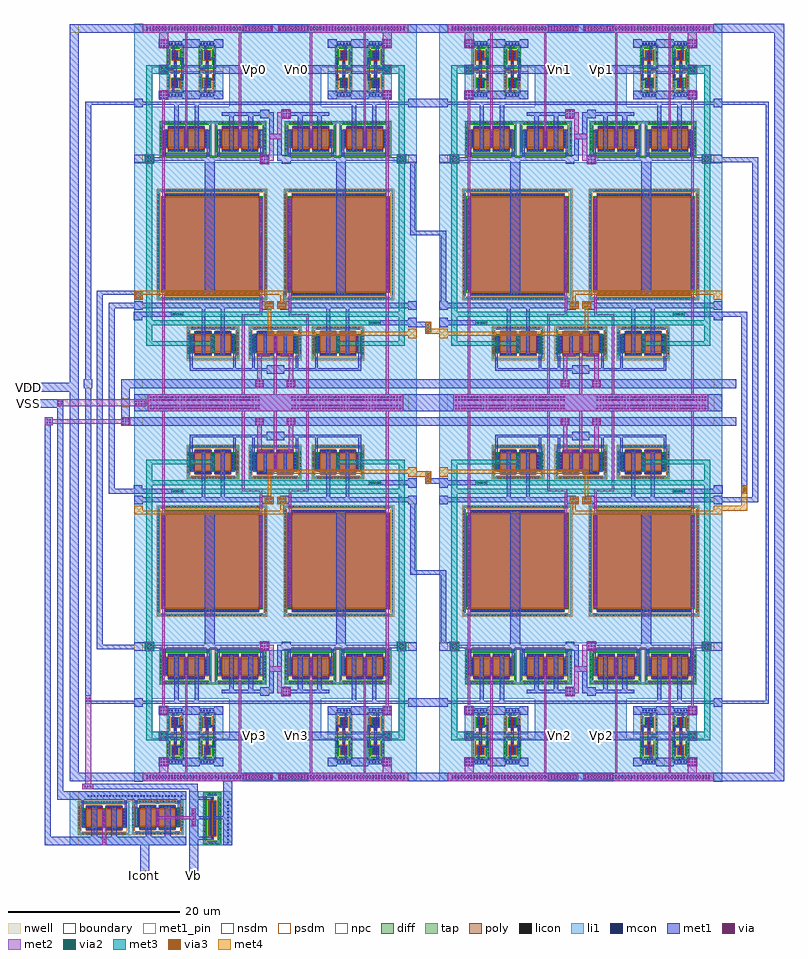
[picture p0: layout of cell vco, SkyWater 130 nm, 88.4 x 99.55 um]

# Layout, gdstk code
from math import pi, radians
import gdstk
lib = gdstk.Library(unit=1e-6, precision=1e-09)
def R(c, l, rs):  # rectangles x0, y0, x1, y1
    for r in rs: c.add(gdstk.rectangle(r[:2], r[2:], *l))
def A(c, l, x, y, w, h, nx, ny, dx, dy):  # array of equal rectangles
    R(c, l, [(x+i*dx, y+j*dy, x+i*dx+w, y+j*dy+h) for i in range(nx) for j in range(ny)])
nwell = (64, 20)
diff = (65, 20)
tap = (65, 44)
poly = (66, 20)
licon = (66, 44)
li1 = (67, 20)
mcon = (67, 44)
met1_pin = (68, 16)
met1 = (68, 20)
via = (68, 44)
met2 = (69, 20)
via2 = (69, 44)
met3 = (70, 20)
via3 = (70, 44)
met4 = (71, 20)
nsdm = (93, 44)
psdm = (94, 20)
npc = (95, 20)
boundary = (235, 4)

sky130_fd_pr__nfet_01v8_ = lib.new_cell('sky130_fd_pr__nfet_01v8_APRB2X')
R(sky130_fd_pr__nfet_01v8_, diff, [(-5.79,-5.5,5.79,5.5)])
R(sky130_fd_pr__nfet_01v8_, tap, [(-6.3,-6.37,6.3,-6.2), (-6.3,-6.2,-6.13,6.2), (6.13,-6.2,6.3,6.2), (-6.3,6.2,6.3,6.37)])
R(sky130_fd_pr__nfet_01v8_, poly, [(-5.5,-5.94,5.5,5.94)])
A(sky130_fd_pr__nfet_01v8_, licon, -5.695, -6.37, 0.17, 0.17, 34, 2, 0.34, 12.57)
A(sky130_fd_pr__nfet_01v8_, licon, -6.3, -5.865, 0.17, 0.17, 1, 35, 0, 0.34)
A(sky130_fd_pr__nfet_01v8_, licon, 6.13, -5.865, 0.17, 0.17, 1, 35, 0, 0.34)
A(sky130_fd_pr__nfet_01v8_, licon, -5.355, -5.86, 0.17, 0.17, 32, 2, 0.34, 11.55)
A(sky130_fd_pr__nfet_01v8_, licon, -5.73, -5.355, 0.17, 0.17, 1, 32, 0, 0.34)
A(sky130_fd_pr__nfet_01v8_, licon, 5.56, -5.355, 0.17, 0.17, 1, 32, 0, 0.34)
R(sky130_fd_pr__nfet_01v8_, li1, [(-6.3,-6.37,6.3,-6.2), (-6.3,-6.2,-6.13,6.2), (6.13,-6.2,6.3,6.2), (-5.5,-5.86,5.5,-5.69), (-5.73,-5.52,-5.56,5.52), (5.56,-5.52,5.73,5.52), (-5.5,5.69,5.5,5.86), (-6.3,6.2,6.3,6.37)])
A(sky130_fd_pr__nfet_01v8_, mcon, -5.305, -5.86, 0.17, 0.17, 30, 2, 0.36, 11.55)
A(sky130_fd_pr__nfet_01v8_, mcon, -5.73, -5.305, 0.17, 0.17, 1, 30, 0, 0.36)
A(sky130_fd_pr__nfet_01v8_, mcon, 5.56, -5.305, 0.17, 0.17, 1, 30, 0, 0.36)
R(sky130_fd_pr__nfet_01v8_, met1, [(-5.48,-5.89,5.48,-5.66), (-5.76,-5.5,-5.53,5.5), (5.53,-5.5,5.76,5.5), (-5.48,5.66,5.48,5.89)])
R(sky130_fd_pr__nfet_01v8_, nsdm, [(-5.915,-5.625,5.915,5.625)])
R(sky130_fd_pr__nfet_01v8_, psdm, [(-6.425,-6.495,6.425,-6.075), (-6.425,-6.075,-6.005,6.075), (6.005,-6.075,6.425,6.075), (-6.425,6.075,6.425,6.495)])
R(sky130_fd_pr__nfet_01v8_, npc, [(-5.455,-5.96,5.455,-5.59), (-5.455,5.59,5.455,5.96)])
R(sky130_fd_pr__nfet_01v8_, boundary, [(-6.21,-6.28,6.21,6.28)])

sky130_fd_pr__pfet_01v8_ = lib.new_cell('sky130_fd_pr__pfet_01v8_GJP7VV')
R(sky130_fd_pr__pfet_01v8_, nwell, [(-3.125,-2.095,3.125,2.095)])
R(sky130_fd_pr__pfet_01v8_, diff, [(-2.435,-1,2.435,1)])
R(sky130_fd_pr__pfet_01v8_, tap, [(-2.945,-1.915,2.945,-1.745), (-2.945,-1.745,-2.775,1.745), (2.775,-1.745,2.945,1.745), (-2.945,1.745,2.945,1.915)])
R(sky130_fd_pr__pfet_01v8_, poly, [(-2.145,-1.485,-0.145,1.485), (0.145,-1.485,2.145,1.485)])
A(sky130_fd_pr__pfet_01v8_, licon, -2.465, -1.915, 0.17, 0.17, 15, 2, 0.34, 3.66)
A(sky130_fd_pr__pfet_01v8_, licon, -1.91, -1.405, 0.17, 0.17, 5, 2, 0.34, 2.64)
A(sky130_fd_pr__pfet_01v8_, licon, 0.38, -1.405, 0.17, 0.17, 5, 2, 0.34, 2.64)
A(sky130_fd_pr__pfet_01v8_, licon, -2.945, -1.275, 0.17, 0.17, 1, 8, 0, 0.34)
A(sky130_fd_pr__pfet_01v8_, licon, 2.775, -1.275, 0.17, 0.17, 1, 8, 0, 0.34)
A(sky130_fd_pr__pfet_01v8_, licon, -2.375, -0.935, 0.17, 0.17, 3, 6, 2.29, 0.34)
A(sky130_fd_pr__pfet_01v8_, li1, -2.375, -1.02, 0.17, 2.04, 3, 1, 2.29, 0)
R(sky130_fd_pr__pfet_01v8_, li1, [(-2.945,-1.915,2.945,-1.745), (-2.945,-1.745,-2.775,1.745), (2.775,-1.745,2.945,1.745), (-2.145,-1.405,-0.145,-1.235), (0.145,-1.405,2.145,-1.235), (-2.145,1.235,-0.145,1.405), (0.145,1.235,2.145,1.405), (-2.945,1.745,2.945,1.915)])
A(sky130_fd_pr__pfet_01v8_, mcon, -1.95, -1.405, 0.17, 0.17, 5, 2, 0.36, 2.64)
A(sky130_fd_pr__pfet_01v8_, mcon, 0.34, -1.405, 0.17, 0.17, 5, 2, 0.36, 2.64)
A(sky130_fd_pr__pfet_01v8_, mcon, -2.375, -0.805, 0.17, 0.17, 3, 5, 2.29, 0.36)
A(sky130_fd_pr__pfet_01v8_, met1, -2.405, -1, 0.23, 2, 3, 1, 2.29, 0)
R(sky130_fd_pr__pfet_01v8_, met1, [(-2.125,-1.435,-0.165,-1.205), (0.165,-1.435,2.125,-1.205), (-2.125,1.205,-0.165,1.435), (0.165,1.205,2.125,1.435)])
R(sky130_fd_pr__pfet_01v8_, nsdm, [(-3.07,-2.04,3.07,-1.62), (-3.07,-1.62,-2.65,1.62), (2.65,-1.62,3.07,1.62), (-3.07,1.62,3.07,2.04)])
R(sky130_fd_pr__pfet_01v8_, psdm, [(-2.56,-1.125,2.56,1.125)])
R(sky130_fd_pr__pfet_01v8_, npc, [(-2.01,-1.505,-0.28,-1.135), (0.28,-1.505,2.01,-1.135), (-2.01,1.135,-0.28,1.505), (0.28,1.135,2.01,1.505)])
R(sky130_fd_pr__pfet_01v8_, boundary, [(-2.86,-1.83,2.86,1.83)])

c_sky130_fd_pr__nfet_01v8_ = lib.new_cell('sky130_fd_pr__nfet_01v8_XVWV9B')
R(c_sky130_fd_pr__nfet_01v8_, diff, [(-2.435,-1,2.435,1)])
R(c_sky130_fd_pr__nfet_01v8_, tap, [(-2.945,-1.87,2.945,-1.7), (-2.945,-1.7,-2.775,1.7), (2.775,-1.7,2.945,1.7), (-2.945,1.7,2.945,1.87)])
R(c_sky130_fd_pr__nfet_01v8_, poly, [(-2.145,-1.44,-0.145,1.44), (0.145,-1.44,2.145,1.44)])
A(c_sky130_fd_pr__nfet_01v8_, licon, -2.465, -1.87, 0.17, 0.17, 15, 2, 0.34, 3.57)
A(c_sky130_fd_pr__nfet_01v8_, licon, -1.91, -1.36, 0.17, 0.17, 5, 2, 0.34, 2.55)
A(c_sky130_fd_pr__nfet_01v8_, licon, 0.38, -1.36, 0.17, 0.17, 5, 2, 0.34, 2.55)
A(c_sky130_fd_pr__nfet_01v8_, licon, -2.945, -1.275, 0.17, 0.17, 1, 8, 0, 0.34)
A(c_sky130_fd_pr__nfet_01v8_, licon, 2.775, -1.275, 0.17, 0.17, 1, 8, 0, 0.34)
A(c_sky130_fd_pr__nfet_01v8_, licon, -2.375, -0.935, 0.17, 0.17, 3, 6, 2.29, 0.34)
A(c_sky130_fd_pr__nfet_01v8_, li1, -2.375, -1.02, 0.17, 2.04, 3, 1, 2.29, 0)
R(c_sky130_fd_pr__nfet_01v8_, li1, [(-2.945,-1.87,2.945,-1.7), (-2.945,-1.7,-2.775,1.7), (2.775,-1.7,2.945,1.7), (-2.145,-1.36,-0.145,-1.19), (0.145,-1.36,2.145,-1.19), (-2.145,1.19,-0.145,1.36), (0.145,1.19,2.145,1.36), (-2.945,1.7,2.945,1.87)])
A(c_sky130_fd_pr__nfet_01v8_, mcon, -1.95, -1.36, 0.17, 0.17, 5, 2, 0.36, 2.55)
A(c_sky130_fd_pr__nfet_01v8_, mcon, 0.34, -1.36, 0.17, 0.17, 5, 2, 0.36, 2.55)
A(c_sky130_fd_pr__nfet_01v8_, mcon, -2.375, -0.805, 0.17, 0.17, 3, 5, 2.29, 0.36)
A(c_sky130_fd_pr__nfet_01v8_, met1, -2.405, -1, 0.23, 2, 3, 1, 2.29, 0)
R(c_sky130_fd_pr__nfet_01v8_, met1, [(-2.125,-1.39,-0.165,-1.16), (0.165,-1.39,2.125,-1.16), (-2.125,1.16,-0.165,1.39), (0.165,1.16,2.125,1.39)])
R(c_sky130_fd_pr__nfet_01v8_, nsdm, [(-2.56,-1.125,2.56,1.125)])
R(c_sky130_fd_pr__nfet_01v8_, psdm, [(-3.07,-1.995,3.07,-1.575), (-3.07,-1.575,-2.65,1.575), (2.65,-1.575,3.07,1.575), (-3.07,1.575,3.07,1.995)])
R(c_sky130_fd_pr__nfet_01v8_, npc, [(-2.01,-1.46,-0.28,-1.09), (0.28,-1.46,2.01,-1.09), (-2.01,1.09,-0.28,1.46), (0.28,1.09,2.01,1.46)])
R(c_sky130_fd_pr__nfet_01v8_, boundary, [(-2.86,-1.785,2.86,1.785)])

c_sky130_fd_pr__pfet_01v8_ = lib.new_cell('sky130_fd_pr__pfet_01v8_LGS3BL')
R(c_sky130_fd_pr__pfet_01v8_, nwell, [(-1.055,-1.42,1.055,1.42)])
R(c_sky130_fd_pr__pfet_01v8_, diff, [(-0.365,-0.32,0.365,0.68)])
R(c_sky130_fd_pr__pfet_01v8_, tap, [(-0.875,-1.24,0.875,-1.07), (-0.875,-1.07,-0.705,1.07), (0.705,-1.07,0.875,1.07), (-0.875,1.07,0.875,1.24)])
R(c_sky130_fd_pr__pfet_01v8_, poly, [(-0.165,-0.805,0.165,-0.475), (-0.075,-0.475,0.075,0.81)])
A(c_sky130_fd_pr__pfet_01v8_, licon, -0.875, -0.595, 0.17, 0.17, 1, 4, 0, 0.34)
A(c_sky130_fd_pr__pfet_01v8_, licon, 0.705, -0.595, 0.17, 0.17, 1, 4, 0, 0.34)
A(c_sky130_fd_pr__pfet_01v8_, licon, -0.305, -0.245, 0.17, 0.17, 1, 3, 0, 0.34)
A(c_sky130_fd_pr__pfet_01v8_, licon, 0.135, -0.245, 0.17, 0.17, 1, 3, 0, 0.34)
R(c_sky130_fd_pr__pfet_01v8_, licon, [(-0.255,-1.24,-0.085,-1.07), (0.085,-1.24,0.255,-1.07), (-0.085,-0.725,0.085,-0.555), (-0.255,1.07,-0.085,1.24), (0.085,1.07,0.255,1.24)])
R(c_sky130_fd_pr__pfet_01v8_, li1, [(-0.875,-1.24,0.875,-1.07), (-0.875,-1.07,-0.705,1.07), (0.705,-1.07,0.875,1.07), (-0.165,-0.725,0.165,-0.555), (-0.305,-0.34,-0.135,0.7), (0.135,-0.34,0.305,0.7), (-0.875,1.07,0.875,1.24)])
R(c_sky130_fd_pr__pfet_01v8_, mcon, [(-0.085,-0.725,0.085,-0.555), (-0.305,-0.085,-0.135,0.085), (0.135,-0.085,0.305,0.085), (-0.305,0.275,-0.135,0.445), (0.135,0.275,0.305,0.445)])
R(c_sky130_fd_pr__pfet_01v8_, met1, [(-0.145,-0.755,0.145,-0.525), (-0.335,-0.32,-0.105,0.68), (0.105,-0.32,0.335,0.68)])
R(c_sky130_fd_pr__pfet_01v8_, nsdm, [(-1,-1.365,1,-0.945), (-1,-0.945,-0.58,0.945), (0.58,-0.945,1,0.945), (-1,0.945,1,1.365)])
R(c_sky130_fd_pr__pfet_01v8_, psdm, [(-0.49,-0.445,0.49,0.805)])
R(c_sky130_fd_pr__pfet_01v8_, npc, [(-0.185,-0.825,0.185,-0.455)])
R(c_sky130_fd_pr__pfet_01v8_, boundary, [(-0.79,-1.155,0.79,1.155)])

c_sky130_fd_pr__nfet_01v8__ = lib.new_cell('sky130_fd_pr__nfet_01v8_64Z3AY')
R(c_sky130_fd_pr__nfet_01v8__, diff, [(-0.365,-0.655,0.365,0.345)])
R(c_sky130_fd_pr__nfet_01v8__, tap, [(-0.875,-1.215,0.875,-1.045), (-0.875,-1.045,-0.705,1.045), (0.705,-1.045,0.875,1.045), (-0.875,1.045,0.875,1.215)])
R(c_sky130_fd_pr__nfet_01v8__, poly, [(-0.075,-0.785,0.075,0.455), (-0.165,0.455,0.165,0.785)])
A(c_sky130_fd_pr__nfet_01v8__, licon, -0.875, -0.595, 0.17, 0.17, 1, 4, 0, 0.34)
A(c_sky130_fd_pr__nfet_01v8__, licon, 0.705, -0.595, 0.17, 0.17, 1, 4, 0, 0.34)
A(c_sky130_fd_pr__nfet_01v8__, licon, -0.305, -0.58, 0.17, 0.17, 1, 3, 0, 0.34)
A(c_sky130_fd_pr__nfet_01v8__, licon, 0.135, -0.58, 0.17, 0.17, 1, 3, 0, 0.34)
R(c_sky130_fd_pr__nfet_01v8__, licon, [(-0.255,-1.215,-0.085,-1.045), (0.085,-1.215,0.255,-1.045), (-0.085,0.535,0.085,0.705), (-0.255,1.045,-0.085,1.215), (0.085,1.045,0.255,1.215)])
R(c_sky130_fd_pr__nfet_01v8__, li1, [(-0.875,-1.215,0.875,-1.045), (-0.875,-1.045,-0.705,1.045), (0.705,-1.045,0.875,1.045), (-0.305,-0.675,-0.135,0.365), (0.135,-0.675,0.305,0.365), (-0.165,0.535,0.165,0.705), (-0.875,1.045,0.875,1.215)])
R(c_sky130_fd_pr__nfet_01v8__, mcon, [(-0.305,-0.42,-0.135,-0.25), (0.135,-0.42,0.305,-0.25), (-0.305,-0.06,-0.135,0.11), (0.135,-0.06,0.305,0.11), (-0.085,0.535,0.085,0.705)])
R(c_sky130_fd_pr__nfet_01v8__, met1, [(-0.335,-0.655,-0.105,0.345), (0.105,-0.655,0.335,0.345), (-0.145,0.505,0.145,0.735)])
R(c_sky130_fd_pr__nfet_01v8__, nsdm, [(-0.49,-0.78,0.49,0.47)])
R(c_sky130_fd_pr__nfet_01v8__, psdm, [(-1,-1.34,1,-0.92), (-1,-0.92,-0.58,0.92), (0.58,-0.92,1,0.92), (-1,0.92,1,1.34)])
R(c_sky130_fd_pr__nfet_01v8__, npc, [(-0.185,0.435,0.185,0.805)])
R(c_sky130_fd_pr__nfet_01v8__, boundary, [(-0.79,-1.13,0.79,1.13)])

vco_inverter = lib.new_cell('vco_inverter')
R(vco_inverter, li1, [(3.15,-4.75,6.85,-3.9), (3.15,-3.9,4.2,-1.5), (5.8,-3.9,6.85,-1.5), (3.15,-1.05,4.15,1.4), (5.85,-1.05,6.85,1.4), (3.15,1.4,6.85,2.25)])
A(vco_inverter, mcon, 4.195, -4.335, 0.17, 0.17, 5, 2, 0.36, 6)
R(vco_inverter, met1_pin, [(3.15,-4.75,4.15,-3.75), (3.15,-1.8,4.15,-0.8), (5.85,-1.8,6.85,-0.8), (3.15,1.25,4.15,2.25)])
R(vco_inverter, met1, [(3.15,-4.75,4.15,-4.5), (5.85,-4.75,6.85,-4.5), (3.15,-4.5,6.85,-4), (3.15,-4,4.15,-3.75), (4.65,-4,4.9,-2.35), (5.85,-4,6.85,-3.75), (5.1,-3.35,5.35,-2.55), (5.1,-2.55,5.9,-2.35), (5.7,-2.35,5.9,-1.8), (4.85,-2.2,5.15,-1.4), (3.15,-1.8,4.15,-1.4), (5.7,-1.8,6.85,-0.8), (3.15,-1.4,5.15,-1.15), (3.15,-1.15,4.15,-0.8), (4.85,-1.15,5.15,-0.35), (5.7,-0.8,5.9,-0.15), (4.65,-0.15,4.9,1.5), (5.15,-0.15,5.9,0.05), (5.15,0.05,5.35,0.85), (3.15,1.25,4.15,1.5), (5.85,1.25,6.85,1.5), (3.15,1.5,6.85,2), (3.15,2,4.15,2.25), (5.85,2,6.85,2.25)])
vco_inverter.add(gdstk.Reference(c_sky130_fd_pr__pfet_01v8_, (5.005,0.17)))
vco_inverter.add(gdstk.Reference(c_sky130_fd_pr__nfet_01v8__, (5.005,-2.705)))
vco_inverter.add(gdstk.Label('VDD', (3.65,1.75), layer=68, texttype=5))
vco_inverter.add(gdstk.Label('Vin', (3.65,-1.3), layer=68, texttype=5))
vco_inverter.add(gdstk.Label('Vout', (6.35,-1.3), layer=68, texttype=5))
vco_inverter.add(gdstk.Label('VSS', (3.65,-4.25), layer=68, texttype=5))

vco_buffer = lib.new_cell('vco_buffer')
R(vco_buffer, met1, [(0,-0.05,1,0.95), (0,2.9,1,3.9), (6.4,2.9,7.4,3.9), (0,5.95,1,6.95)])
vco_buffer.add(gdstk.Reference(vco_inverter, (0.55,4.7)))
vco_buffer.add(gdstk.Reference(vco_inverter, (-3.15,4.7)))
vco_buffer.add(gdstk.Label('VDD', (0,6.45), layer=68, texttype=5))
vco_buffer.add(gdstk.Label('VSS', (0,0.45), layer=68, texttype=5))
vco_buffer.add(gdstk.Label('Vin', (0,3.4), layer=68, texttype=5))
vco_buffer.add(gdstk.Label('Vout', (7.4,3.4), layer=68, texttype=5))

vco_stage_half = lib.new_cell('vco_stage_half')
R(vco_stage_half, li1, [(7.15,-26.8,23.6,-22.45), (7.15,-22.45,20.1,-21.75), (7.15,-21.75,13.4,-18.4), (19.25,-21.75,20.1,-18.4), (7.15,-18.4,13.55,-18.2), (19.1,-18.4,20.1,-18.2), (7.15,-18.2,20.1,-16.9), (7.15,-16.9,23.6,-14.75), (7.15,-14.75,9.95,-2.1), (22.5,-14.75,23.6,-2.1), (7.15,-2.1,23.6,1.15), (7.15,1.15,9.95,1.2), (7.15,2,10.4,5.7), (22.4,2,23.6,5.65), (18.25,5.65,23.6,5.7), (7.15,5.7,23.6,7.65), (7.15,7.65,9.25,12.2), (18.25,7.65,23.6,12.2), (7.15,12.2,10.3,15.3), (17.4,12.2,23.6,15.3), (7.15,15.3,23.6,17.25)])
A(vco_stage_half, mcon, 8.99, -26.59, 0.17, 0.17, 36, 2, 0.36, 0.36)
A(vco_stage_half, mcon, 8.59, 16.46, 0.17, 0.17, 41, 2, 0.36, 0.36)
R(vco_stage_half, met1_pin, [(7.15,-26.8,8.15,-25.8), (22.6,-23.45,23.6,-22.45), (7.15,-16,8.15,-15), (7.15,1.05,8.15,2.05), (21.85,6.3,22.85,7.3), (7.15,7.55,8.15,8.55), (20.65,11.45,21.65,12.45), (7.15,16.25,8.15,17.25)])
R(vco_stage_half, met1, [(7.15,-26.8,23.6,-25.8), (22.6,-23.45,23.6,-23.1), (13.65,-23.1,23.6,-22.8), (13.65,-22.8,13.95,-18.9), (18.7,-22.8,19,-18.9), (22.6,-22.8,23.6,-22.45), (17.25,-21.3,17.7,-15.8), (15,-21.25,15.45,-15.8), (16.1,-20.9,16.55,-18.9), (7.15,-16,8.15,-15.8), (22.05,-16,23.05,-15.8), (7.15,-15.8,23.05,-15.2), (7.15,-15.2,8.15,-15), (22.05,-15.2,23.05,-15), (15.4,-14.3,16.55,1.35), (21.7,-13.65,22.1,-3.1), (10.35,-13.6,10.8,-3.1), (21.85,1,22.85,1.35), (7.15,1.05,9.5,1.35), (7.15,1.35,22.85,1.75), (7.15,1.75,9.5,2.05), (10.55,1.75,10.85,4.9), (15.6,1.75,15.9,4.9), (16.8,1.75,17.1,4.9), (21.85,1.75,22.85,2), (21.85,2,22.15,4.9), (11.85,2.45,12.35,7.85), (14.2,2.5,14.7,7.85), (18.2,2.5,18.75,6.6), (20.45,2.5,21,6.6), (13,2.9,13.45,4.9), (19.25,2.9,19.7,4.9), (21.85,6.3,22.85,6.6), (17.35,6.6,22.85,7), (21.85,7,22.85,7.3), (7.15,7.55,8.15,7.85), (7.15,7.85,23.6,8.2), (7.15,8.2,8.15,8.55), (10.05,8.5,11.15,9.5), (10.05,11.45,11.15,12.45), (16.5,11.45,21.65,12.45), (10.05,14.5,11.2,15.5), (7.15,16.25,23.6,17.25)])
A(vco_stage_half, via, 9.06, -26.56, 0.15, 0.15, 40, 2, 0.32, 0.32)
A(vco_stage_half, via, 16.25, -20.775, 0.15, 0.15, 1, 6, 0, 0.32)
A(vco_stage_half, via, 21.825, -13.57, 0.15, 0.15, 1, 33, 0, 0.32)
A(vco_stage_half, via, 10.5, -13.545, 0.15, 0.15, 1, 33, 0, 0.32)
A(vco_stage_half, via, 8.555, 1.155, 0.15, 0.15, 3, 3, 0.32, 0.32)
A(vco_stage_half, via, 13.15, 3.025, 0.15, 0.15, 1, 6, 0, 0.32)
A(vco_stage_half, via, 19.4, 3.025, 0.15, 0.15, 1, 6, 0, 0.32)
A(vco_stage_half, via, 10.205, 8.605, 0.15, 0.15, 3, 3, 0.32, 0.32)
A(vco_stage_half, via, 10.205, 11.555, 0.15, 0.15, 3, 3, 0.32, 0.32)
A(vco_stage_half, via, 10.23, 14.605, 0.15, 0.15, 3, 3, 0.32, 0.32)
A(vco_stage_half, via, 8.6, 16.65, 0.15, 0.15, 46, 1, 0.32, 0)
R(vco_stage_half, met2, [(8.75,-26.8,22.15,-25.8), (10.45,-25.8,10.75,-13.65), (19.7,-25.8,20,-16.8), (16.15,-20.95,16.5,-18.85), (19.7,-16.8,22.05,-16.5), (21.75,-16.5,22.05,-2.9), (10.4,-13.65,10.75,-3.05), (10.45,-3.05,10.75,8.45), (8.45,1,9.45,2.1), (13.05,2.85,13.4,4.95), (19.3,2.85,19.65,4.95), (13.1,4.95,13.35,16.25), (19.35,4.95,19.6,16.25), (10.1,8.45,11.1,9.55), (10.1,11.4,11.1,12.5), (10.1,14.45,11.15,16.25), (8.15,16.25,19.75,16.4), (8.15,16.4,23.3,17.05), (8.15,17.05,19.75,17.25)])
A(vco_stage_half, via2, 16.225, -20.8, 0.2, 0.2, 1, 5, 0, 0.4)
R(vco_stage_half, via2, [(8.65,1.25,8.85,1.45), (9.05,1.25,9.25,1.45), (8.65,1.65,8.85,1.85), (9.05,1.65,9.25,1.85), (10.3,11.65,10.5,11.85), (10.7,11.65,10.9,11.85), (10.3,12.05,10.5,12.25), (10.7,12.05,10.9,12.25)])
R(vco_stage_half, met3, [(16.1,-20.925,16.55,-20.15), (8.55,-20.15,16.55,-19.65), (8.55,-19.65,9.25,1.025), (16.1,-19.65,16.55,-18.875), (8.4,1.025,9.5,2.075), (8.55,2.075,9.25,11.45), (10.05,11.425,11.15,11.45), (8.55,11.45,11.15,12.45), (10.05,12.45,11.15,12.475)])
R(vco_stage_half, nsdm, [(16.295,1.855,16.405,5.935)])
vco_stage_half.add(gdstk.Reference(sky130_fd_pr__nfet_01v8_, (16.23,-8.4)))
vco_stage_half.add(gdstk.Reference(sky130_fd_pr__pfet_01v8_, (19.475,3.895)))
vco_stage_half.add(gdstk.Reference(sky130_fd_pr__pfet_01v8_, (13.225,3.895)))
vco_stage_half.add(gdstk.Reference(c_sky130_fd_pr__nfet_01v8_, (16.325,-19.9)))
vco_stage_half.add(gdstk.Reference(vco_buffer, (10.1,8.55)))
vco_stage_half.add(gdstk.Label('VDD', (7.65,16.75), layer=68, texttype=5))
vco_stage_half.add(gdstk.Label('VSS', (7.65,-26.3), layer=68, texttype=5))
vco_stage_half.add(gdstk.Label('Vin', (7.65,-15.5), layer=68, texttype=5))
vco_stage_half.add(gdstk.Label('Vb', (7.65,8.05), layer=68, texttype=5))
vco_stage_half.add(gdstk.Label('Vd', (22.35,6.8), layer=68, texttype=5))
vco_stage_half.add(gdstk.Label('Vout', (7.65,1.55), layer=68, texttype=5))
vco_stage_half.add(gdstk.Label('Vs', (23.1,-22.95), layer=68, texttype=5))
vco_stage_half.add(gdstk.Label('Vbuf', (21.15,11.95), layer=68, texttype=5))

vco_stage = lib.new_cell('vco_stage')
R(vco_stage, li1, [(21.4,-12.15,28.4,-11.45), (21.4,-11.45,22,-7.75), (27.8,-11.45,28.4,-7.75), (21.4,-7.75,28.4,-6.6)])
R(vco_stage, met1_pin, [(8.45,-16.5,9.45,-15.5), (8.45,-14.8,9.45,-13.8), (8.45,-5.7,9.45,-4.7), (40.35,-5.7,41.35,-4.7), (8.45,11.35,9.45,12.35), (40.35,11.35,41.35,12.35), (8.45,17.85,9.45,18.85), (21.95,21.75,22.95,22.75), (26.85,21.75,27.85,22.75), (8.45,26.6,9.45,27.6)])
R(vco_stage, met1, [(8.45,-16.5,9.45,-15.5), (8.45,-14.8,41.35,-13.8), (22.2,-12.8,22.5,-8.6), (27.25,-12.8,27.55,-8.6), (22.8,-11.1,24.25,-10.75), (25.5,-11.1,26.95,-10.75), (23.55,-10.75,23.9,-8.25), (25.85,-10.75,26.2,-8.25), (24.7,-10.6,25.05,-8.6), (40.35,-7.7,41.35,-7.5), (35.75,-7.5,41.35,-6.9), (8.4,-6.9,9.4,-6.5), (40.35,-6.9,41.35,-6.6), (8.4,-6.5,14.2,-5.9), (8.45,-5.7,9.45,-4.7), (25.45,-5.7,26.45,-5.55), (40.35,-5.7,41.35,-4.7), (23.65,-5.55,24.7,-4.7), (25.1,-5.55,26.45,-4.7), (23.1,11.3,24.2,12.3), (8.45,11.35,9.45,12.35), (40.35,11.35,41.35,12.35), (25.1,11.65,25.65,14.15), (24.15,14.15,25.65,14.8), (24.15,14.8,24.7,17.3), (25.6,16.6,26.7,17.6), (8.45,17.85,9.45,18.85), (21.95,21.75,22.95,22.75), (26.85,21.75,27.85,22.75), (8.45,26.6,9.45,27.6)])
A(vco_stage, via, 22.655, -14.695, 0.15, 0.15, 3, 3, 0.32, 0.32)
A(vco_stage, via, 26.305, -14.695, 0.15, 0.15, 3, 3, 0.32, 0.32)
A(vco_stage, via, 22.97, -11, 0.15, 0.15, 4, 1, 0.32, 0)
A(vco_stage, via, 25.67, -11, 0.15, 0.15, 4, 1, 0.32, 0)
A(vco_stage, via, 24.8, -10.475, 0.15, 0.15, 1, 6, 0, 0.32)
A(vco_stage, via, 35.895, -7.275, 0.15, 0.15, 4, 1, 0.32, 0)
A(vco_stage, via, 12.945, -6.275, 0.15, 0.15, 4, 1, 0.32, 0)
A(vco_stage, via, 23.78, -5.36, 0.15, 0.15, 3, 2, 0.32, 0.32)
A(vco_stage, via, 25.23, -5.36, 0.15, 0.15, 3, 2, 0.32, 0.32)
A(vco_stage, via, 23.255, 11.405, 0.15, 0.15, 3, 3, 0.32, 0.32)
A(vco_stage, via, 25.755, 16.705, 0.15, 0.15, 3, 3, 0.32, 0.32)
R(vco_stage, met2, [(23.45,-16.5,26.35,-15.5), (24.7,-15.5,25.05,-8.6), (22.55,-14.8,23.55,-13.8), (26.2,-14.8,27.2,-13.8), (22.8,-13.8,23.3,-11.1), (26.45,-13.8,26.95,-11.1), (22.8,-11.1,24.25,-10.75), (25.5,-11.1,26.95,-10.75), (35.75,-7.5,37.15,-6.9), (12.8,-6.5,14.2,-5.9), (23.65,-5.55,24.7,-4.7), (25.1,-5.55,26.15,-4.7), (23.15,11.25,24.15,11.65), (23.15,11.65,24.7,12.35), (24.15,12.35,24.7,14.15), (24.15,14.15,25.65,14.8), (25.1,14.8,25.65,16.55), (25.1,16.55,26.65,16.6), (25.1,16.6,26.7,17.3), (25.6,17.3,26.7,17.6), (25.65,17.6,26.65,17.65)])
A(vco_stage, via2, 35.95, -7.3, 0.2, 0.2, 3, 1, 0.4, 0)
A(vco_stage, via2, 13, -6.3, 0.2, 0.2, 3, 1, 0.4, 0)
R(vco_stage, via2, [(23.875,-5.425,24.075,-5.225), (24.275,-5.425,24.475,-5.225), (25.325,-5.425,25.525,-5.225), (25.725,-5.425,25.925,-5.225), (23.875,-5.025,24.075,-4.825), (24.275,-5.025,24.475,-4.825), (25.325,-5.025,25.525,-4.825), (25.725,-5.025,25.925,-4.825)])
R(vco_stage, met3, [(9.85,-7.5,37.15,-6.9), (12.8,-6.5,39.65,-5.9), (23.65,-5.55,24.7,-4.7), (25.1,-5.55,26.15,-4.7)])
R(vco_stage, via3, [(23.875,-5.425,24.075,-5.225), (24.275,-5.425,24.475,-5.225), (25.325,-5.425,25.525,-5.225), (25.725,-5.425,25.925,-5.225), (23.875,-5.025,24.075,-4.825), (24.275,-5.025,24.475,-4.825), (25.325,-5.025,25.525,-4.825), (25.725,-5.025,25.925,-4.825)])
R(vco_stage, met4, [(40.35,-9,41.35,-8.7), (24,-8.7,41.35,-8.25), (24,-8.25,24.4,-5.55), (40.35,-8.25,41.35,-7.9), (23.65,-5.55,24.7,-4.7), (25.1,-5.55,26.15,-4.7), (25.45,-4.7,25.85,-3.95), (8.45,-4.5,9.45,-3.95), (8.45,-3.95,25.85,-3.5)])
vco_stage.add(gdstk.Reference(vco_stage_half, (48.5,10.3), rotation=pi, x_reflection=True))
vco_stage.add(gdstk.Reference(vco_stage_half, (1.3,10.3)))
vco_stage.add(gdstk.Reference(c_sky130_fd_pr__nfet_01v8_, (24.875,-9.6)))
vco_stage.add(gdstk.Label('VDD', (8.95,27.1), layer=68, texttype=5))
vco_stage.add(gdstk.Label('VSS', (8.95,-16), layer=68, texttype=5))
vco_stage.add(gdstk.Label('Vp', (8.95,-5.2), layer=68, texttype=5))
vco_stage.add(gdstk.Label('Vn', (40.85,-5.2), layer=68, texttype=5))
vco_stage.add(gdstk.Label('Vb', (8.95,18.35), layer=68, texttype=5))
vco_stage.add(gdstk.Label('Vc', (8.95,-14.3), layer=68, texttype=5))
vco_stage.add(gdstk.Label('Vpout', (8.95,11.85), layer=68, texttype=5))
vco_stage.add(gdstk.Label('Vnout', (40.85,11.85), layer=68, texttype=5))
vco_stage.add(gdstk.Label('Vpbuf', (22.45,22.25), layer=68, texttype=5))
vco_stage.add(gdstk.Label('Vnbuf', (27.35,22.25), layer=68, texttype=5))

vco_core = lib.new_cell('vco_core')
R(vco_core, met1_pin, [(7.95,-45.95,8.95,-44.95), (12.85,-45.95,13.85,-44.95), (43.45,-45.95,44.45,-44.95), (48.35,-45.95,49.35,-44.95), (-7.05,-7.2,-6.05,-6.2), (-5.1,-7.15,-4.1,-6.15), (-11.4,-5,-10.4,-4), (7.95,31.55,8.95,32.55), (12.85,31.55,13.85,32.55), (43.45,31.55,44.45,32.55), (48.35,31.55,49.35,32.55), (-13,36.35,-12,37.35)])
R(vco_core, met1, [(-13,-50.75,-5.55,-49.75), (27.35,-50.75,29.95,-49.75), (62.85,-50.75,70.05,-49.75), (-13,-49.75,-12,36.35), (68.9,-49.75,70.05,36.35), (7.95,-45.95,8.95,-44.95), (12.85,-45.95,13.85,-44.95), (43.45,-45.95,44.45,-44.95), (48.35,-45.95,49.35,-44.95), (27.35,-42.05,29.95,-41.05), (-11.25,-41.7,-5.55,-41.35), (62.85,-41.7,68.3,-41.35), (-11.25,-41.35,-10.55,-5), (67.9,-41.35,68.3,27.95), (-9.9,-35.4,-7.05,-35.35), (-9.9,-35.35,-5.55,-34.85), (-9.9,-34.85,-9.2,5.85), (30.15,-34.55,30.75,-26.7), (26.55,-26.7,30.75,-26.2), (26.55,-26.2,27.15,-18.5), (61.45,-18.3,67.05,-17.7), (66.35,-17.7,67.05,21.25), (-8.5,-17.3,-5.6,-16.7), (65.05,-17.3,65.8,3.3), (-8.5,-16.7,-7.8,4.3), (28.3,-16.1,29.95,-15.5), (28.3,-15.5,29,-14.7), (-7.05,-9.4,-5.55,-8.4), (27.35,-9.4,29.95,-8.4), (62.85,-9.4,64.5,-8.4), (-7.05,-8.4,-6.05,-5), (27.35,-7.7,29.95,-5.7), (-5.1,-7.15,-4.1,-6.15), (-11.4,-5,-10.4,-4), (-7.05,-5,-5.55,-4), (27.35,-5,29.95,-4), (62.85,-5,64.5,-4), (-11.25,-4,-10.55,27.95), (28.3,1.3,29,2.1), (27.35,2.1,29,2.3), (26.35,2.3,29,2.7), (26.35,2.7,27.35,2.9), (62.9,3.3,65.8,3.9), (-8.5,4.3,-5.55,4.9), (30.15,4.65,30.75,12.8), (-5.55,5.3,-4.55,5.85), (-9.9,5.85,-4.55,6.3), (26.55,12.8,30.75,13.3), (26.55,13.3,27.15,21.15), (62.85,21.25,67.05,21.85), (27.35,27.65,29.95,28.65), (-11.25,27.95,-5.55,28.3), (62.85,27.95,68.3,28.3), (7.95,31.55,8.95,32.55), (12.85,31.55,13.85,32.55), (43.45,31.55,44.45,32.55), (48.35,31.55,49.35,32.55), (-13,36.35,-5.55,37.35), (27.35,36.35,29.95,37.35), (62.85,36.35,70.05,37.4)])
A(vco_core, via, 65.19, -17.195, 0.15, 0.15, 1, 3, 0, 0.32)
A(vco_core, via, 65.51, -17.195, 0.15, 0.15, 1, 3, 0, 0.32)
A(vco_core, via, 28.415, -15.955, 0.15, 0.15, 1, 4, 0, 0.32)
A(vco_core, via, 28.735, -15.955, 0.15, 0.15, 1, 4, 0, 0.32)
A(vco_core, via, 28.415, 1.445, 0.15, 0.15, 1, 4, 0, 0.32)
A(vco_core, via, 28.735, 1.445, 0.15, 0.15, 1, 4, 0, 0.32)
A(vco_core, via, -5.445, 5.405, 0.15, 0.15, 3, 3, 0.32, 0.32)
R(vco_core, met2, [(65.05,-17.3,65.8,-16.3), (28.3,-16.1,29,-14.7), (28.3,1.3,29,2.7), (-5.55,5.3,-4.55,6.3)])
A(vco_core, via2, 28.55, -15.9, 0.2, 0.2, 1, 3, 0, 0.4)
A(vco_core, via2, 28.55, 1.5, 0.2, 0.2, 1, 3, 0, 0.4)
R(vco_core, via2, [(65.325,-17.1,65.525,-16.9), (65.325,-16.7,65.525,-16.5), (-5.35,5.5,-5.15,5.7), (-4.95,5.5,-4.75,5.7), (-5.35,5.9,-5.15,6.1), (-4.95,5.9,-4.75,6.1)])
R(vco_core, met3, [(65.05,-17.3,65.8,-16.3), (28.3,-16.1,29,-14.7), (28.3,1.3,29,2.7), (-5.55,5.3,-4.55,6.3)])
A(vco_core, via3, 28.55, -15.9, 0.2, 0.2, 1, 3, 0, 0.4)
A(vco_core, via3, 28.55, 1.5, 0.2, 0.2, 1, 3, 0, 0.4)
R(vco_core, via3, [(65.325,-17.1,65.525,-16.9), (65.325,-16.7,65.525,-16.5), (-5.35,5.5,-5.15,5.7), (-4.95,5.5,-4.75,5.7), (-5.35,5.9,-5.15,6.1), (-4.95,5.9,-4.75,6.1)])
R(vco_core, met4, [(61.85,-19.25,65.8,-18.7), (65.05,-18.7,65.8,-16.3), (28.3,-16.1,29,-15.3), (27.35,-15.3,29,-14.7), (28.3,1.3,29.95,1.9), (28.3,1.9,29,2.7), (-5.55,5.3,-4.55,6.3)])
vco_core.add(gdstk.Reference(vco_stage, (-14,-23.2), x_reflection=True))
vco_core.add(gdstk.Reference(vco_stage, (71.3,-23.2), rotation=pi))
vco_core.add(gdstk.Reference(vco_stage, (71.3,9.8), rotation=pi, x_reflection=True))
vco_core.add(gdstk.Reference(vco_stage, (-14,9.8)))
vco_core.add(gdstk.Label('VDD', (-12.5,36.85), layer=68, texttype=5))
vco_core.add(gdstk.Label('VSS', (-4.6,-6.65), layer=68, texttype=5))
vco_core.add(gdstk.Label('Vb', (-10.9,-4.5), layer=68, texttype=5))
vco_core.add(gdstk.Label('Vc', (-6.55,-6.7), layer=68, texttype=5))
vco_core.add(gdstk.Label('Vp0', (8.45,32.05), layer=68, texttype=5))
vco_core.add(gdstk.Label('Vp1', (48.85,32.05), layer=68, texttype=5))
vco_core.add(gdstk.Label('Vp2', (48.85,-45.45), layer=68, texttype=5))
vco_core.add(gdstk.Label('Vp3', (8.45,-45.45), layer=68, texttype=5))
vco_core.add(gdstk.Label('Vn0', (13.35,32.05), layer=68, texttype=5))
vco_core.add(gdstk.Label('Vn1', (43.95,32.05), layer=68, texttype=5))
vco_core.add(gdstk.Label('Vn2', (43.95,-45.45), layer=68, texttype=5))
vco_core.add(gdstk.Label('Vn3', (13.35,-45.45), layer=68, texttype=5))

c_sky130_fd_pr__pfet_01v8__ = lib.new_cell('sky130_fd_pr__pfet_01v8_NDBSV3')
R(c_sky130_fd_pr__pfet_01v8__, nwell, [(-1.105,-3.095,1.105,3.095)])
R(c_sky130_fd_pr__pfet_01v8__, diff, [(-0.415,-2,0.415,2)])
R(c_sky130_fd_pr__pfet_01v8__, tap, [(-0.925,-2.915,0.925,-2.745), (-0.925,-2.745,-0.755,2.745), (0.755,-2.745,0.925,2.745), (-0.925,2.745,0.925,2.915)])
R(c_sky130_fd_pr__pfet_01v8__, poly, [(-0.165,-2.485,0.165,-2.155), (-0.125,-2.155,0.125,2.155), (-0.165,2.155,0.165,2.485)])
A(c_sky130_fd_pr__pfet_01v8__, licon, -0.425, -2.915, 0.17, 0.17, 3, 2, 0.34, 5.66)
A(c_sky130_fd_pr__pfet_01v8__, licon, -0.925, -2.295, 0.17, 0.17, 1, 14, 0, 0.34)
A(c_sky130_fd_pr__pfet_01v8__, licon, 0.755, -2.295, 0.17, 0.17, 1, 14, 0, 0.34)
A(c_sky130_fd_pr__pfet_01v8__, licon, -0.355, -1.785, 0.17, 0.17, 1, 11, 0, 0.34)
A(c_sky130_fd_pr__pfet_01v8__, licon, 0.185, -1.785, 0.17, 0.17, 1, 11, 0, 0.34)
R(c_sky130_fd_pr__pfet_01v8__, licon, [(-0.085,-2.405,0.085,-2.235), (-0.085,2.235,0.085,2.405)])
R(c_sky130_fd_pr__pfet_01v8__, li1, [(-0.925,-2.915,0.925,-2.745), (-0.925,-2.745,-0.755,2.745), (0.755,-2.745,0.925,2.745), (-0.165,-2.405,0.165,-2.235), (-0.355,-2.02,-0.185,2.02), (0.185,-2.02,0.355,2.02), (-0.165,2.235,0.165,2.405), (-0.925,2.745,0.925,2.915)])
A(c_sky130_fd_pr__pfet_01v8__, mcon, -0.355, -1.885, 0.17, 0.17, 1, 11, 0, 0.36)
A(c_sky130_fd_pr__pfet_01v8__, mcon, 0.185, -1.885, 0.17, 0.17, 1, 11, 0, 0.36)
R(c_sky130_fd_pr__pfet_01v8__, mcon, [(-0.085,-2.405,0.085,-2.235), (-0.085,2.235,0.085,2.405)])
R(c_sky130_fd_pr__pfet_01v8__, met1, [(-0.145,-2.435,0.145,-2.205), (-0.385,-2,-0.155,2), (0.155,-2,0.385,2), (-0.145,2.205,0.145,2.435)])
R(c_sky130_fd_pr__pfet_01v8__, nsdm, [(-1.05,-3.04,1.05,-2.62), (-1.05,-2.62,-0.63,2.62), (0.63,-2.62,1.05,2.62), (-1.05,2.62,1.05,3.04)])
R(c_sky130_fd_pr__pfet_01v8__, psdm, [(-0.54,-2.125,0.54,2.125)])
R(c_sky130_fd_pr__pfet_01v8__, npc, [(-0.185,-2.505,0.185,-2.135), (-0.185,2.135,0.185,2.505)])
R(c_sky130_fd_pr__pfet_01v8__, boundary, [(-0.84,-2.83,0.84,2.83)])

vco_bias = lib.new_cell('vco_bias')
R(vco_bias, li1, [(2.6,-5.3,16.15,-4.05), (16.5,-5.3,21.45,-5.05), (16.5,-5.05,18.25,0.75), (20.05,-5.05,21.45,0.75), (2.6,-4.05,3.65,-0.4), (9.5,-4.05,9.85,-0.4), (15.7,-4.05,16.15,-0.4), (2.6,-0.4,16.15,1), (16.5,0.75,21.45,1)])
A(vco_bias, mcon, 4.665, -4.86, 0.17, 0.17, 31, 1, 0.36, 0)
A(vco_bias, mcon, 20.89, -4.125, 0.17, 0.17, 1, 14, 0, 0.36)
R(vco_bias, met1_pin, [(2.6,-5.3,3.6,-4.3), (16.5,-5.3,17.5,-4.3), (20.45,-5.3,21.45,-4.3), (2.6,0,3.6,1)])
R(vco_bias, met1, [(2.6,-5.3,16.15,-4.3), (16.5,-5.3,17.5,-4.65), (20.45,-5.3,21.45,-2.4), (16.5,-4.65,19.35,-4.3), (3.95,-4.3,4.2,-1.2), (8.95,-4.3,9.2,-1.2), (10.15,-4.3,10.4,-1.2), (15.15,-4.3,15.4,-1.2), (16.5,-4.3,17.5,-2.4), (5.1,-3.6,5.75,0), (11.4,-3.6,12.05,0), (7.4,-3.55,8.05,0), (13.65,-3.55,14.3,0), (12.55,-3.25,13,-1.25), (6.35,-3.2,6.8,-1.2), (16.5,-2.4,19,-2.05), (19.3,-2.4,21.45,-2.05), (16.5,-2.05,17.5,0), (20.45,-2.05,21.45,1), (2.6,0,16.15,1), (16.5,0,19.35,0.35), (16.5,0.35,17.5,1)])
A(vco_bias, via, 12.7, -3.125, 0.15, 0.15, 1, 6, 0, 0.32)
A(vco_bias, via, 16.9, -3.125, 0.15, 0.15, 1, 6, 0, 0.32)
A(vco_bias, via, 6.5, -3.075, 0.15, 0.15, 1, 6, 0, 0.32)
R(vco_bias, via, [(6.5,0.24,6.65,0.39), (6.5,0.56,6.65,0.71)])
R(vco_bias, met2, [(12.55,-3.25,13,-2.4), (16.75,-3.25,17.2,-2.4), (6.35,-3.2,6.8,0.95), (12.55,-2.4,17.2,-2.05), (12.55,-2.05,13,-1.25), (16.75,-2.05,17.2,-1.25)])
R(vco_bias, psdm, [(9.645,-4.195,9.705,-0.255)])
vco_bias.add(gdstk.Reference(c_sky130_fd_pr__pfet_01v8__, (19.155,-2.155)))
vco_bias.add(gdstk.Reference(c_sky130_fd_pr__nfet_01v8_, (12.775,-2.25)))
vco_bias.add(gdstk.Reference(c_sky130_fd_pr__nfet_01v8_, (6.575,-2.2)))
vco_bias.add(gdstk.Label('VDD', (20.95,-4.8), layer=68, texttype=5))
vco_bias.add(gdstk.Label('VSS', (3.1,-4.8), layer=68, texttype=5))
vco_bias.add(gdstk.Label('Icont', (3.1,0.5), layer=68, texttype=5))
vco_bias.add(gdstk.Label('Vb', (17,-4.8), layer=68, texttype=5))

vco = lib.new_cell('vco')
R(vco, met1_pin, [(46.2,-38.25,47.2,-37.25), (51.9,-38.25,52.9,-37.25), (58.95,-22.05,59.95,-21.05), (63.85,-22.05,64.85,-21.05), (94.45,-22.05,95.45,-21.05), (99.35,-22.05,100.35,-21.05), (32.65,16.6,33.65,17.6), (32.65,18.5,33.65,19.5), (59,55.45,60,56.45), (63.85,55.45,64.85,56.45), (94.45,55.45,95.45,56.45), (99.35,55.45,100.35,56.45)])
R(vco, met1, [(46.2,-38.25,47.2,-34.3), (51.9,-38.25,52.9,-34.3), (35.05,-34.3,39,-33.3), (35.05,-33.3,35.75,14.6), (36.5,-29,38,-28), (36.5,-28,37.2,16.6), (51.9,-28,52.85,-27.75), (55.85,-28,56.85,-26.85), (39.45,-27.75,52.85,-27.1), (58.95,-22.05,59.95,-21.05), (63.85,-22.05,64.85,-21.05), (94.45,-22.05,95.45,-21.05), (99.35,-22.05,100.35,-21.05), (39.8,-17.75,40.4,-16.9), (44,14.55,44.95,15.45), (35.05,14.6,36,15.5), (32.65,16.6,37.2,17.6), (45.5,16.85,46.8,17.55), (32.65,18.5,39,19.5), (59,55.45,60,56.45), (63.85,55.45,64.85,56.45), (94.45,55.45,95.45,56.45), (99.35,55.45,100.35,56.45)])
A(vco, via, 39.68, -27.5, 0.15, 0.15, 3, 1, 0.32, 0)
A(vco, via, 44.08, 14.605, 0.15, 0.15, 3, 3, 0.32, 0.32)
A(vco, via, 45.595, 16.965, 0.15, 0.15, 4, 2, 0.32, 0.32)
R(vco, via, [(39.865,-17.56,40.015,-17.41), (40.185,-17.56,40.335,-17.41), (39.865,-17.24,40.015,-17.09), (40.185,-17.24,40.335,-17.09), (35.29,14.815,35.44,14.965), (35.61,14.815,35.76,14.965), (35.29,15.135,35.44,15.285), (35.61,15.135,35.76,15.285), (36.615,16.965,36.765,17.115), (36.935,16.965,37.085,17.115), (36.615,17.285,36.765,17.435), (36.935,17.285,37.085,17.435)])
R(vco, met2, [(39.45,-27.75,40.7,-27.1), (39.75,-27.1,40.45,-16.85), (43.95,14.5,45,14.75), (35.05,14.6,36,14.75), (35.05,14.75,45,15.3), (35.05,15.3,36,15.5), (43.95,15.3,45,15.5), (36.5,16.8,46.85,17.6)])
vco.add(gdstk.Reference(vco_core, (51,23.9)))
vco.add(gdstk.Reference(vco_bias, (35.4,-33.3), x_reflection=True))
vco.add(gdstk.Label('VDD', (33.15,19), layer=68, texttype=5))
vco.add(gdstk.Label('VSS', (33.15,17.1), layer=68, texttype=5))
vco.add(gdstk.Label('Icont', (46.7,-37.75), layer=68, texttype=5))
vco.add(gdstk.Label('Vp0', (59.5,55.95), layer=68, texttype=5))
vco.add(gdstk.Label('Vp1', (99.85,55.95), layer=68, texttype=5))
vco.add(gdstk.Label('Vp2', (99.85,-21.55), layer=68, texttype=5))
vco.add(gdstk.Label('Vp3', (59.45,-21.55), layer=68, texttype=5))
vco.add(gdstk.Label('Vn0', (64.35,55.95), layer=68, texttype=5))
vco.add(gdstk.Label('Vn1', (94.95,55.95), layer=68, texttype=5))
vco.add(gdstk.Label('Vn2', (94.95,-21.55), layer=68, texttype=5))
vco.add(gdstk.Label('Vn3', (64.35,-21.55), layer=68, texttype=5))
vco.add(gdstk.Label('Vb', (52.4,-37.75), layer=68, texttype=5))

lib.write_gds('vco.gds')
